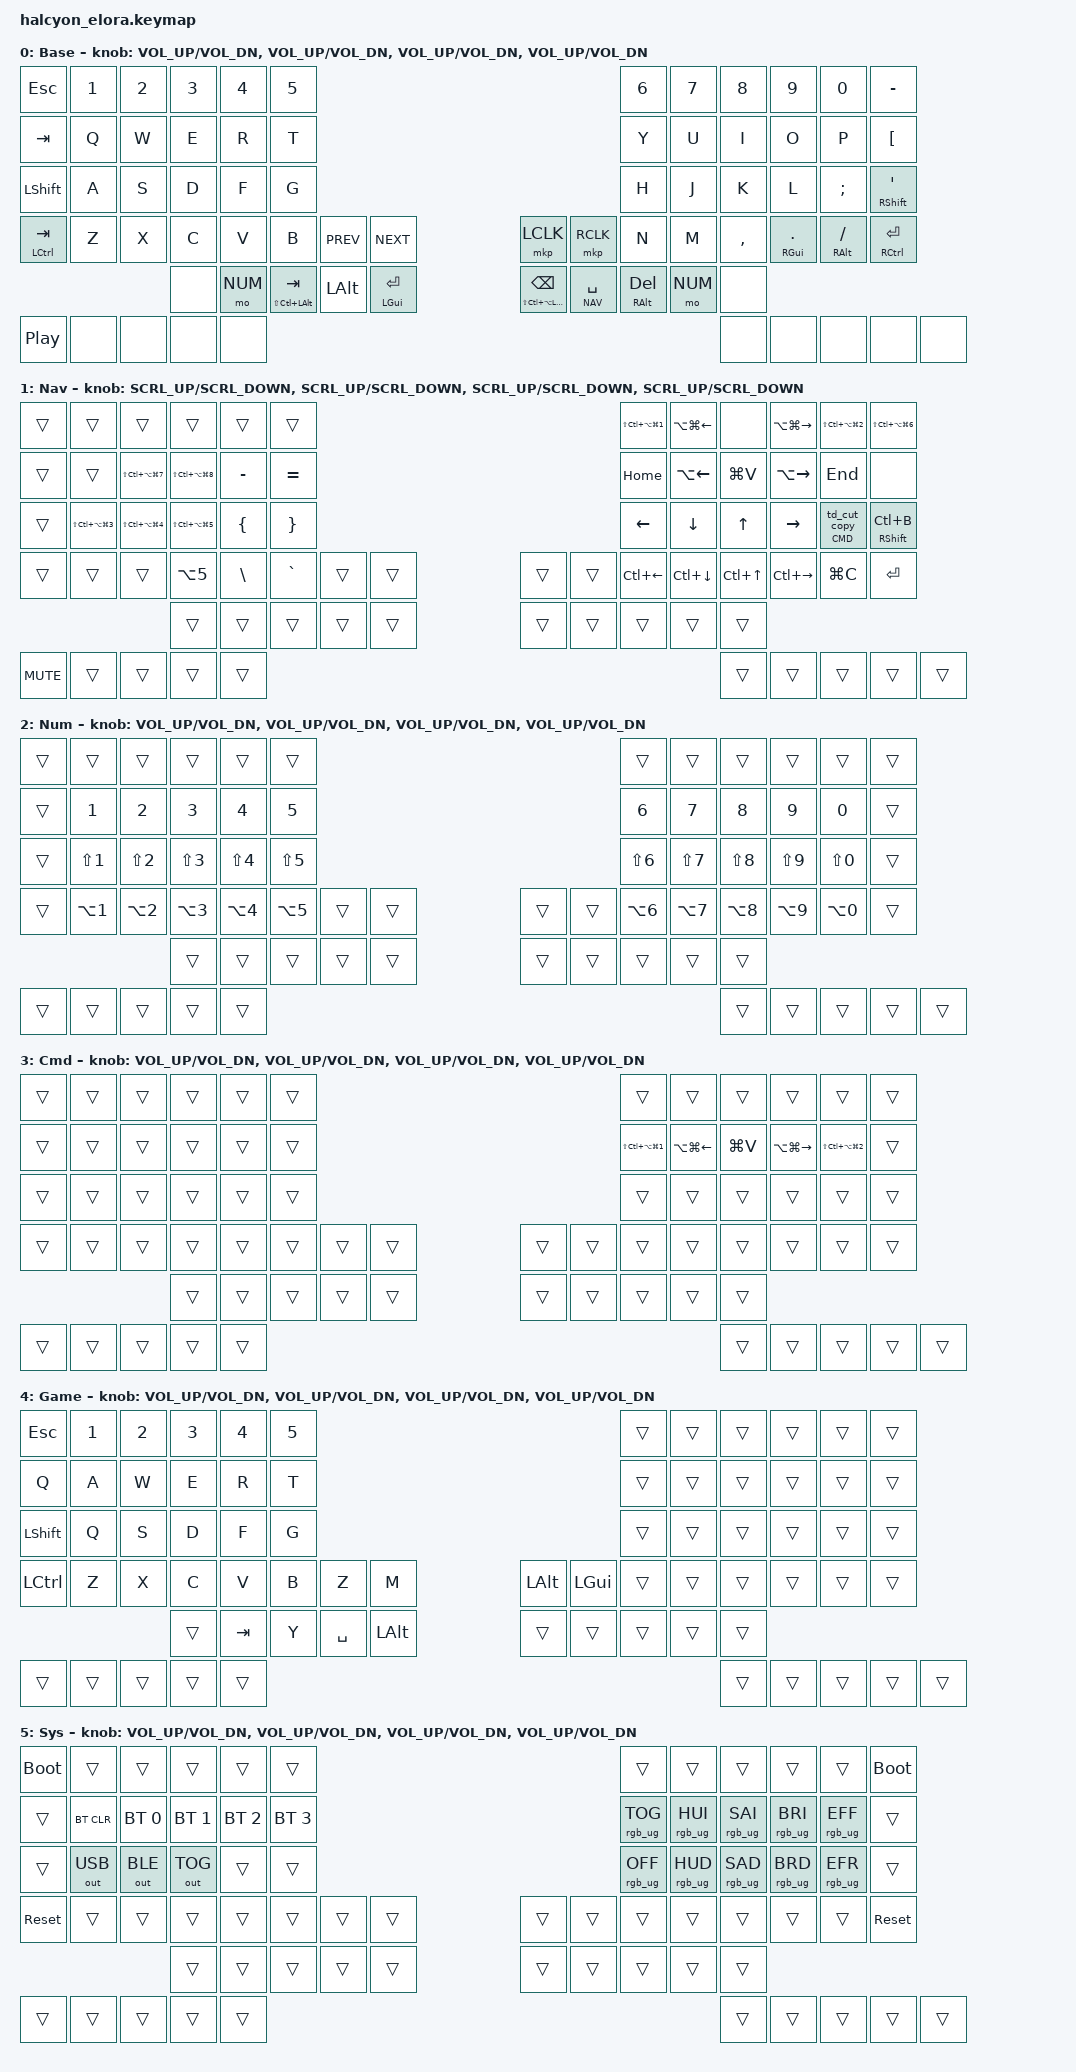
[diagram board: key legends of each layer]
/*
 * Halcyon Elora rev2 keymap, ported 1:1 from a Vial/QMK Elora rev1 layout.
 *
 * Physical key order per layer (must match config/halcyon_elora.json):
 *   rows 0-2: 6 left | 6 right
 *   row 3:    6 left, 2 inner left | 2 inner right, 6 right
 *   thumbs:   5 left (outer -> inner) | 5 right (inner -> outer)
 *   halcyon:  5 left | 5 right  (only left slot 1 is real: the push button of a rev 2 encoder module)
 *
 * Sensor order: left halcyon encoder, right halcyon encoder, left soldered, right soldered.
 * None is fitted right now; the bindings are kept for a rev 2 encoder module.
 */

#include <behaviors.dtsi>
#include <dt-bindings/zmk/bt.h>
#include <dt-bindings/zmk/keys.h>
#include <dt-bindings/zmk/outputs.h>
#include <dt-bindings/zmk/pointing.h>
#include <dt-bindings/zmk/rgb.h>

#define BASE 0
#define NAV  1
#define NUM  2
#define CMD  3
#define GAME 4
#define SYS  5

&mt {
    tapping-term-ms = <175>;
    quick-tap-ms = <150>;
    flavor = "balanced";
};

&lt {
    tapping-term-ms = <175>;
    quick-tap-ms = <150>;
    flavor = "balanced";
};

/ {
    behaviors {
        // Vial TD(0): tap Cmd+X, double-tap Cmd+C
        td_cut_copy: td_cut_copy {
            compatible = "zmk,behavior-tap-dance";
            #binding-cells = <0>;
            tapping-term-ms = <200>;
            bindings = <&kp LG(X)>, <&kp LG(C)>;
        };

        // Vial TD(0) hold part: hold for a layer, tap runs td_cut_copy. Use as &ht_cmd CMD 0
        ht_cmd: ht_cmd {
            compatible = "zmk,behavior-hold-tap";
            #binding-cells = <2>;
            tapping-term-ms = <175>;
            flavor = "balanced";
            bindings = <&mo>, <&td_cut_copy>;
        };

        // Encoder as mouse scroll wheel. tap-ms must be >= the &msc tick (16 ms) or nothing is sent.
        inc_dec_msc: inc_dec_msc {
            compatible = "zmk,behavior-sensor-rotate-var";
            #sensor-binding-cells = <2>;
            bindings = <&msc>, <&msc>;
            tap-ms = <20>;
        };
    };

    combos {
        compatible = "zmk,combos";

        combo_num      { key-positions = <55 58>; bindings = <&mo NUM>; };        // LALT + SPACE
        combo_game     { key-positions = <0 11>;  bindings = <&tog GAME>; };      // ESC + MINUS
        combo_rbrc     { key-positions = <27 28>; bindings = <&kp RBRC>; };       // D + F
        combo_rbkt     { key-positions = <31 32>; bindings = <&kp RBKT>; };       // J + K
        combo_alt_lbkt { key-positions = <39 40>; bindings = <&kp LA(LBKT)>; };   // C + V
        combo_alt_rbkt { key-positions = <47 48>; bindings = <&kp LA(RBKT)>; };   // M + COMMA
        combo_alt_9    { key-positions = <15 16>; bindings = <&kp LA(N9)>; };     // E + R
        combo_alt_0    { key-positions = <19 20>; bindings = <&kp LA(N0)>; };     // U + I

        // Hold both outermost thumb-row keys for the SYS layer
        combo_sys {
            key-positions = <52 61>;
            bindings = <&mo SYS>;
            timeout-ms = <150>;
            slow-release;
        };
    };

    keymap {
        compatible = "zmk,keymap";

        base_layer {
            display-name = "Base";
// ---------------------------------------------------------------------------------------------------------------
// |  ESC  |  1  |  2  |  3  |  4  |  5  |                                    |  6  |  7  |  8  |  9  |  0  |  -   |
// |  TAB  |  Q  |  W  |  E  |  R  |  T  |                                    |  Y  |  U  |  I  |  O  |  P  |  [   |
// | SHFT  |  A  |  S  |  D  |  F  |  G  |                                    |  H  |  J  |  K  |  L  |  ;  |SFT/' |
// |CTL/TAB|  Z  |  X  |  C  |  V  |  B  | PREV | NEXT |        | LCLK | RCLK |  N  |  M  |  ,  |GUI/.|ALT//|CTL/RET|
//                 | SYS* | NUM | MEH/TAB | ALT | GUI/RET |    | HYP/BSPC | NAV/SPC | ALT/DEL | NUM | SYS* |
// halcyon row:    | PLAY |     |     |     |     |                        |     |     |     |     |     |
            bindings = <
&kp ESC      &kp N1 &kp N2 &kp N3 &kp N4 &kp N5                                                                 &kp N6 &kp N7 &kp N8    &kp N9      &kp N0       &kp MINUS
&kp TAB      &kp Q  &kp W  &kp E  &kp R  &kp T                                                                  &kp Y  &kp U  &kp I     &kp O       &kp P        &kp LBKT
&kp LSHFT    &kp A  &kp S  &kp D  &kp F  &kp G                                                                  &kp H  &kp J  &kp K     &kp L       &kp SEMI     &mt RSHFT SQT
&mt LCTRL TAB &kp Z &kp X  &kp C  &kp V  &kp B  &kp C_PREV &kp C_NEXT                   &mkp LCLK &mkp RCLK    &kp N  &kp M  &kp COMMA &mt RGUI DOT &mt RALT FSLH &mt RCTRL RET
                    &none  &mo NUM &mt LS(LC(LALT)) TAB &kp LALT &mt LGUI RET           &mt LS(LC(LA(LGUI))) BSPC &lt NAV SPACE &mt RALT DEL &mo NUM &none

&kp C_PP &none &none &none &none                                                                                                  &none &none &none &none &none
            >;
            sensor-bindings = <&inc_dec_kp C_VOL_UP C_VOL_DN &inc_dec_kp C_VOL_UP C_VOL_DN &inc_dec_kp C_VOL_UP C_VOL_DN &inc_dec_kp C_VOL_UP C_VOL_DN>;
        };

        nav_layer {
            display-name = "Nav";
// ---------------------------------------------------------------------------------------------------------------
// |       |     |     |     |     |     |                                    |HYP 1|A+G <|     |A+G >|HYP 2|HYP 6 |
// |       |     |HYP 7|HYP 8|  -  |  =  |                                    |HOME |ALT <|CMD V|ALT >| END |      |
// |       |HYP 3|HYP 4|HYP 5|  {  |  }  |                                    |LEFT |DOWN | UP  |RIGHT|CUT/CMD|CTL-B/SFT|
// |       |     |     |ALT 5|  \  |  `  |     |     |          |     |     |CTL <|CTL v|CTL ^|CTL >|CMD C| RET  |
// halcyon row:    | MUTE |     |     |     |     |     encoder: scroll
            bindings = <
&trans &trans          &trans          &trans          &trans    &trans                                                     &kp LS(LC(LA(LG(N1))))  &kp LA(LG(LEFT)) &none        &kp LA(LG(RIGHT)) &kp LS(LC(LA(LG(N2))))   &kp LS(LC(LA(LG(N6))))
&trans &trans          &kp LS(LC(LA(LG(N7))))    &kp LS(LC(LA(LG(N8))))    &kp MINUS &kp EQUAL                                                  &kp HOME      &kp LA(LEFT)     &kp LG(V)    &kp LA(RIGHT)     &kp END        &none
&trans &kp LS(LC(LA(LG(N3))))    &kp LS(LC(LA(LG(N4))))    &kp LS(LC(LA(LG(N5))))    &kp LBRC  &kp RBRC                                                   &kp LEFT      &kp DOWN         &kp UP       &kp RIGHT         &ht_cmd CMD 0  &mt RSHFT LC(B)
&trans &trans          &trans          &kp LA(N5)      &kp BSLH  &kp GRAVE &trans &trans                    &trans &trans   &kp LC(LEFT)  &kp LC(DOWN)     &kp LC(UP)   &kp LC(RIGHT)     &kp LG(C)      &kp RET
                                       &trans          &trans    &trans    &trans &trans                    &trans &trans   &trans        &trans           &trans

&kp C_MUTE &trans &trans &trans &trans                                                                                                    &trans &trans &trans &trans &trans
            >;
            sensor-bindings = <&inc_dec_msc SCRL_UP SCRL_DOWN &inc_dec_msc SCRL_UP SCRL_DOWN &inc_dec_msc SCRL_UP SCRL_DOWN &inc_dec_msc SCRL_UP SCRL_DOWN>;
        };

        num_layer {
            display-name = "Num";
// ---------------------------------------------------------------------------------------------------------------
// |       |     |     |     |     |     |                                    |     |     |     |     |     |      |
// |       |  1  |  2  |  3  |  4  |  5  |                                    |  6  |  7  |  8  |  9  |  0  |      |
// |       |  !  |  @  |  #  |  $  |  %  |                                    |  ^  |  &  |  *  |  (  |  )  |      |
// |       |ALT 1|ALT 2|ALT 3|ALT 4|ALT 5|     |     |          |     |     |ALT 6|ALT 7|ALT 8|ALT 9|ALT 0|      |
            bindings = <
&trans &trans     &trans     &trans     &trans     &trans                                                          &trans     &trans     &trans     &trans     &trans     &trans
&trans &kp N1     &kp N2     &kp N3     &kp N4     &kp N5                                                          &kp N6     &kp N7     &kp N8     &kp N9     &kp N0     &trans
&trans &kp LS(N1) &kp LS(N2) &kp LS(N3) &kp LS(N4) &kp LS(N5)                                                      &kp LS(N6) &kp LS(N7) &kp LS(N8) &kp LS(N9) &kp LS(N0) &trans
&trans &kp LA(N1) &kp LA(N2) &kp LA(N3) &kp LA(N4) &kp LA(N5) &trans &trans                        &trans &trans   &kp LA(N6) &kp LA(N7) &kp LA(N8) &kp LA(N9) &kp LA(N0) &trans
                              &trans    &trans     &trans     &trans &trans                        &trans &trans   &trans     &trans     &trans

&trans &trans &trans &trans &trans                                                                                                     &trans &trans &trans &trans &trans
            >;
            sensor-bindings = <&inc_dec_kp C_VOL_UP C_VOL_DN &inc_dec_kp C_VOL_UP C_VOL_DN &inc_dec_kp C_VOL_UP C_VOL_DN &inc_dec_kp C_VOL_UP C_VOL_DN>;
        };

        cmd_layer {
            display-name = "Cmd";
// Held via the cut/copy key on Nav. Only the right upper row is used.
            bindings = <
&trans &trans &trans &trans &trans &trans                                                          &trans       &trans           &trans    &trans            &trans       &trans
&trans &trans &trans &trans &trans &trans                                                          &kp LS(LC(LA(LG(N1)))) &kp LA(LG(LEFT)) &kp LG(V) &kp LA(LG(RIGHT)) &kp LS(LC(LA(LG(N2)))) &trans
&trans &trans &trans &trans &trans &trans                                                          &trans       &trans           &trans    &trans            &trans       &trans
&trans &trans &trans &trans &trans &trans &trans &trans                          &trans &trans     &trans       &trans           &trans    &trans            &trans       &trans
                     &trans &trans &trans &trans &trans                          &trans &trans     &trans       &trans           &trans

&trans &trans &trans &trans &trans                                                                                                       &trans &trans &trans &trans &trans
            >;
            sensor-bindings = <&inc_dec_kp C_VOL_UP C_VOL_DN &inc_dec_kp C_VOL_UP C_VOL_DN &inc_dec_kp C_VOL_UP C_VOL_DN &inc_dec_kp C_VOL_UP C_VOL_DN>;
        };

        game_layer {
            display-name = "Game";
// Toggle with ESC + MINUS combo. Left hand only; plain keys, no mod-taps.
// Old inner-column keys L (left) and RALT (right) had no slot on rev2 and were dropped.
            bindings = <
&kp ESC   &kp N1 &kp N2 &kp N3 &kp N4 &kp N5                                                  &trans &trans &trans &trans &trans &trans
&kp Q     &kp A  &kp W  &kp E  &kp R  &kp T                                                   &trans &trans &trans &trans &trans &trans
&kp LSHFT &kp Q  &kp S  &kp D  &kp F  &kp G                                                   &trans &trans &trans &trans &trans &trans
&kp LCTRL &kp Z  &kp X  &kp C  &kp V  &kp B  &kp Z &kp M                     &kp LALT &kp LGUI &trans &trans &trans &trans &trans &trans
                 &trans &kp TAB &kp Y &kp SPACE &kp LALT                     &trans   &trans   &trans &trans &trans

&trans &trans &trans &trans &trans                                                                                          &trans &trans &trans &trans &trans
            >;
            sensor-bindings = <&inc_dec_kp C_VOL_UP C_VOL_DN &inc_dec_kp C_VOL_UP C_VOL_DN &inc_dec_kp C_VOL_UP C_VOL_DN &inc_dec_kp C_VOL_UP C_VOL_DN>;
        };

        sys_layer {
            display-name = "Sys";
// Hold both outermost thumb-row keys.
// | BOOT |      |      |      |      |      |                  |       |       |       |       |       | BOOT |
// |      |BT CLR| BT 0 | BT 1 | BT 2 | BT 3 |                  |RGB TOG|RGB HUI|RGB SAI|RGB BRI|RGB EFF|      |
// |      |USB   |BLE   |OUT TG|      |      |                  |RGB OFF|RGB HUD|RGB SAD|RGB BRD|RGB EFR|      |
// | RESET|      |      |      |      |      |  |  |      |  |  |       |       |       |       |       | RESET|
            bindings = <
&bootloader &trans       &trans       &trans       &trans       &trans                                                    &trans          &trans          &trans          &trans          &trans          &bootloader
&trans      &bt BT_CLR   &bt BT_SEL 0 &bt BT_SEL 1 &bt BT_SEL 2 &bt BT_SEL 3                                              &rgb_ug RGB_TOG &rgb_ug RGB_HUI &rgb_ug RGB_SAI &rgb_ug RGB_BRI &rgb_ug RGB_EFF &trans
&trans      &out OUT_USB &out OUT_BLE &out OUT_TOG &trans       &trans                                                    &rgb_ug RGB_OFF &rgb_ug RGB_HUD &rgb_ug RGB_SAD &rgb_ug RGB_BRD &rgb_ug RGB_EFR &trans
&sys_reset  &trans       &trans       &trans       &trans       &trans       &trans &trans              &trans &trans     &trans          &trans          &trans          &trans          &trans          &sys_reset
                                      &trans       &trans       &trans       &trans &trans              &trans &trans     &trans          &trans          &trans

&trans &trans &trans &trans &trans                                                                                                                         &trans &trans &trans &trans &trans
            >;
            sensor-bindings = <&inc_dec_kp C_VOL_UP C_VOL_DN &inc_dec_kp C_VOL_UP C_VOL_DN &inc_dec_kp C_VOL_UP C_VOL_DN &inc_dec_kp C_VOL_UP C_VOL_DN>;
        };
    };
};
